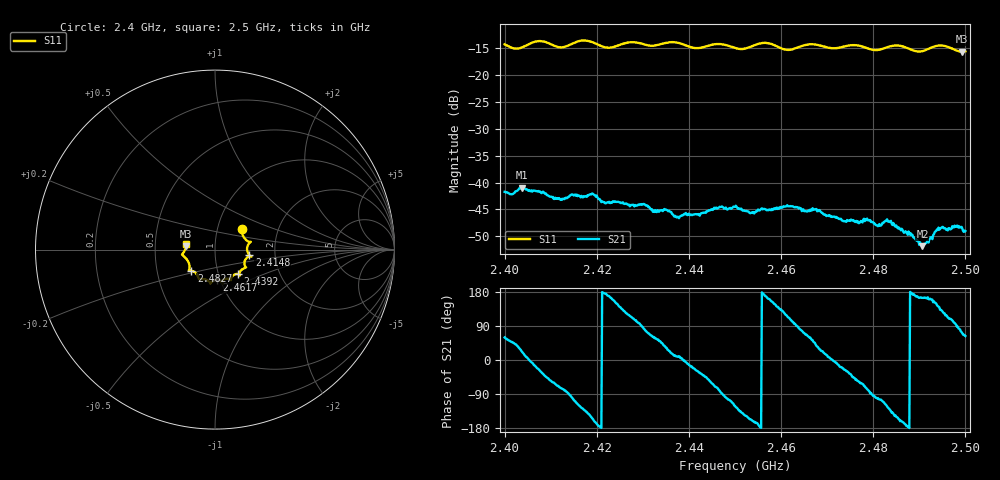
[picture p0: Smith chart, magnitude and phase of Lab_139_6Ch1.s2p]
# Hz S RI R 50
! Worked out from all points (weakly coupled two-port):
!   601 points, 2.4 GHz to 2.5 GHz, reference 50 ohm
!   highest |S21| = -40.94 dB at 2.4037 GHz (marker M1); lowest = -51.8 dB at 2.4907 GHz (marker M2)
!   lowest |S11| = -15.8 dB at 2.4993 GHz (marker M3), VSWR 1.39, Z = 36 + j1.42 ohm
!   |S11| at or under -10 dB: start of sweep to end of sweep
!   S12 and S22 are empty: the file has one direction only
!   S11 on the Smith chart (normalised r, x): 2.4 GHz: 1.31, +0.32; 2.4148 GHz: 1.47, -0.10; 2.4392 GHz: 1.24, -0.35; 2.4617 GHz: 0.96, -0.33; 2.4827 GHz: 0.75, -0.18; 2.5 GHz: 0.72, +0.05
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2.4e9  0.1515 0.1157  0.00416 0.00706  0 0  0 0
2.403667e9  0.1681 0.059  0.00823 0.00357  0 0  0 0
2.4075e9  0.1997 0.0433  0.00741 -0.00362  0 0  0 0
2.411167e9  0.1811 0.0193  0.00296 -0.00642  0 0  0 0
2.414833e9  0.1919 -0.0312  -0.00165 -0.00752  0 0  0 0
2.416667e9  0.2026 -0.0395  -0.00442 -0.00608  0 0  0 0
2.419167e9  0.1955 -0.0365  -0.00716 -0.00322  0 0  0 0
2.4225e9  0.1663 -0.062  -0.00643 0.00119  0 0  0 0
2.433333e9  0.137 -0.1301  0.0032 0.00441  0 0  0 0
2.439167e9  0.1285 -0.1364  0.00507 -0.000369  0 0  0 0
2.45e9  0.0709 -0.1617  -0.00307 -0.00509  0 0  0 0
2.453667e9  0.0399 -0.179  -0.00493 -0.0019  0 0  0 0
2.456833e9  0.0436 -0.1913  -0.0054 0.00127  0 0  0 0
2.461667e9  0.00852 -0.169  -0.00223 0.00559  0 0  0 0
2.466667e9  -0.026 -0.1894  0.0033 0.00441  0 0  0 0
2.473667e9  -0.0769 -0.1651  0.00397 -0.00189  0 0  0 0
2.482667e9  -0.1323 -0.1177  -0.002 -0.00394  0 0  0 0
2.483333e9  -0.1382 -0.117  -0.00264 -0.00347  0 0  0 0
2.490667e9  -0.154 -0.0588  -0.00247 0.000711  0 0  0 0
2.494667e9  -0.1838 -0.0276  -0.00256 0.00278  0 0  0 0
2.499333e9  -0.1619 0.0192  0.00125 0.00353  0 0  0 0
2.5e9  -0.1614 0.0311  0.0016 0.00317  0 0  0 0
